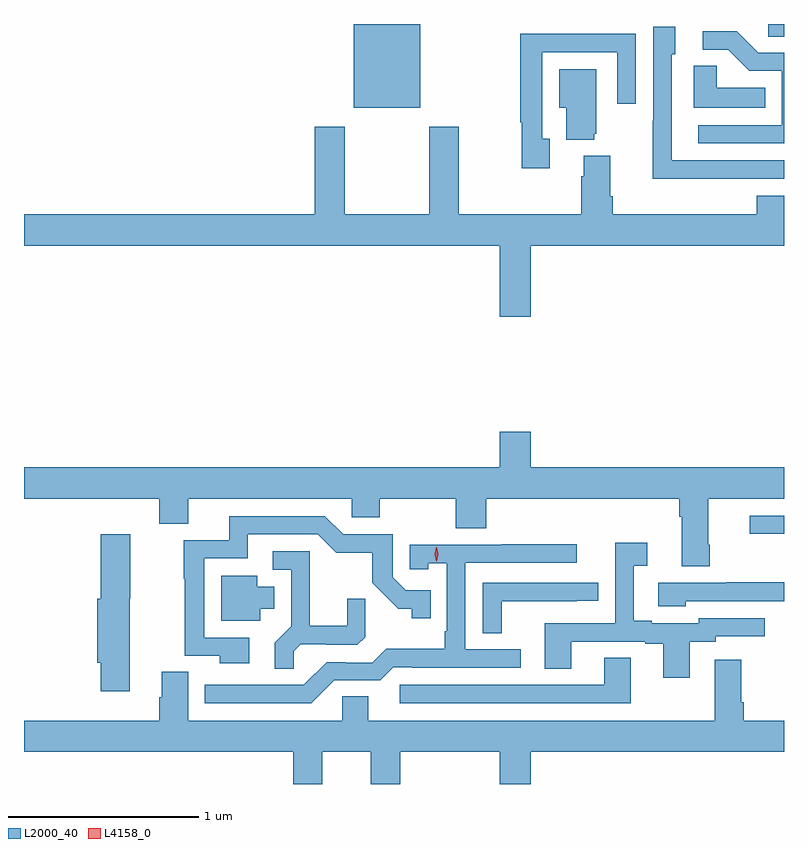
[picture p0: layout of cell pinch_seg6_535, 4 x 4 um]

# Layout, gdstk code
import gdstk
lib = gdstk.Library(unit=1e-6, precision=1e-09)
def R(c, l, rs):  # rectangles x0, y0, x1, y1
    for r in rs: c.add(gdstk.rectangle(r[:2], r[2:], *l))
def P(c, l, *ps):  # polygons
    for p in ps: c.add(gdstk.Polygon(p, *l))
L2000_40 = (2000, 40)
L4158_0 = (4158, 0)

pinch_seg6_535 = lib.new_cell('pinch_seg6_535')
R(pinch_seg6_535, L2000_40, [(825.663,923.175,825.844,923.271), (823.58,925.418,823.93,925.858), (825.762,925.792,825.844,925.858)])
P(pinch_seg6_535, L2000_40, [(825.617,925.044),(825.844,925.044),(825.844,925.14),(825.252,925.14),(825.252,925.698),(825.271,925.698),(825.271,925.843),(825.156,925.843),(825.156,925.349),(825.154,925.349),(825.154,925.043),(825.617,925.043)],
  [(825.844,925.707),(825.708,925.707),(825.595,925.82),(825.417,925.82),(825.417,925.722),(825.551,925.722),(825.662,925.611),(825.831,925.611),(825.831,925.326),(825.393,925.326),(825.393,925.23),(825.844,925.23)],
  [(824.611,925.254),(824.571,925.254),(824.571,925.71),(824.967,925.71),(824.967,925.437),(825.063,925.437),(825.063,925.806),(824.747,925.806),(824.747,925.808),(824.455,925.808),(824.455,925.342),(824.463,925.342),(824.463,925.098),(824.611,925.098)],
  [(825.746,925.522),(825.489,925.522),(825.489,925.637),(825.368,925.637),(825.368,925.418),(825.746,925.418)],
  [(824.846,925.281),(824.857,925.281),(824.857,925.621),(824.66,925.621),(824.66,925.418),(824.699,925.418),(824.699,925.25),(824.846,925.25)],
  [(823.373,925.318),(823.373,924.856),(821.844,924.856),(821.844,924.692),(824.348,924.692),(824.348,924.318),(824.512,924.318),(824.512,924.692),(825.844,924.692),(825.844,924.955),(825.701,924.955),(825.701,924.856),(824.942,924.856),(824.942,924.952),(824.929,924.952),(824.929,925.165),(824.789,925.165),(824.789,925.058),(824.777,925.058),(824.777,924.856),(824.133,924.856),(824.133,925.318),(823.978,925.318),(823.978,924.856),(823.533,924.856),(823.533,925.318)],
  [(825.453,923.116),(825.445,923.116),(825.445,923.36),(825.844,923.36),(825.844,923.524),(824.512,923.524),(824.512,923.713),(824.348,923.713),(824.348,923.524),(821.844,923.524),(821.844,923.36),(822.557,923.36),(822.557,923.227),(822.709,923.227),(822.709,923.36),(823.569,923.36),(823.569,923.262),(823.716,923.262),(823.716,923.36),(824.116,923.36),(824.116,923.203),(824.276,923.203),(824.276,923.36),(825.293,923.36),(825.293,923.264),(825.305,923.264),(825.305,923.004),(825.453,923.004)],
  [(823.03,922.629),(822.792,922.629),(822.792,923.046),(823.021,923.046),(823.021,923.172),(823.389,923.172),(823.488,923.074),(823.677,923.074),(823.677,922.918),(823.814,922.781),(823.884,922.781),(823.884,922.731),(823.985,922.731),(823.985,922.878),(823.854,922.878),(823.785,922.947),(823.785,923.172),(823.524,923.172),(823.428,923.268),(822.923,923.268),(822.923,923.142),(822.684,923.142),(822.684,922.939),(822.691,922.939),(822.691,922.533),(822.874,922.533),(822.874,922.493),(823.03,922.493)],
  [(822.4,922.833),(822.402,922.833),(822.402,923.173),(822.248,923.173),(822.248,922.833),(822.23,922.833),(822.23,922.497),(822.248,922.497),(822.248,922.347),(822.4,922.347)],
  [(825.349,922.608),(825.486,922.608),(825.486,922.635),(825.742,922.635),(825.742,922.731),(825.396,922.731),(825.396,922.704),(825.148,922.704),(825.148,922.717),(825.052,922.717),(825.052,923.008),(825.124,923.008),(825.124,923.128),(824.955,923.128),(824.955,922.704),(824.585,922.704),(824.585,922.465),(824.725,922.465),(824.725,922.608),(825.113,922.608),(825.113,922.596),(825.209,922.596),(825.209,922.416),(825.349,922.416)],
  [(823.476,922.404),(823.719,922.404),(823.788,922.473),(823.888,922.473),(823.888,922.47),(824.458,922.47),(824.458,922.566),(824.166,922.566),(824.166,923.022),(824.752,923.022),(824.752,923.121),(824.359,923.121),(824.359,923.118),(823.875,923.118),(823.875,922.989),(823.971,922.989),(823.971,923.021),(824.07,923.021),(824.07,922.663),(824.058,922.663),(824.058,922.57),(823.75,922.57),(823.677,922.497),(823.538,922.497),(823.538,922.5),(823.437,922.5),(823.317,922.38),(822.794,922.38),(822.794,922.284),(823.356,922.284)],
  [(823.263,922.556),(823.3,922.593),(823.434,922.593),(823.434,922.59),(823.599,922.59),(823.64,922.631),(823.64,922.833),(823.546,922.833),(823.546,922.69),(823.349,922.69),(823.349,923.082),(823.152,923.082),(823.152,922.986),(823.251,922.986),(823.251,922.687),(823.165,922.601),(823.165,922.465),(823.263,922.465)],
  [(823.087,922.781),(823.162,922.781),(823.162,922.897),(823.072,922.897),(823.072,922.954),(822.881,922.954),(822.881,922.718),(823.087,922.718)],
  [(825.327,922.821),(825.844,922.821),(825.844,922.92),(825.541,922.92),(825.541,922.917),(825.183,922.917),(825.183,922.793),(825.327,922.793)],
  [(824.358,922.821),(824.753,922.821),(824.753,922.822),(824.866,922.822),(824.866,922.917),(824.259,922.917),(824.259,922.651),(824.358,922.651)],
  [(825.037,922.523),(824.897,922.523),(824.897,922.38),(823.821,922.38),(823.821,922.284),(825.037,922.284)],
  [(823.67,921.858),(823.823,921.858),(823.823,922.028),(824.348,922.028),(824.348,921.858),(824.512,921.858),(824.512,922.028),(825.844,922.028),(825.844,922.192),(825.632,922.192),(825.632,922.288),(825.619,922.288),(825.619,922.513),(825.479,922.513),(825.479,922.192),(823.657,922.192),(823.657,922.319),(823.518,922.319),(823.518,922.192),(822.709,922.192),(822.709,922.448),(822.569,922.448),(822.569,922.314),(822.557,922.314),(822.557,922.192),(821.844,922.192),(821.844,922.028),(823.262,922.028),(823.262,921.858),(823.414,921.858),(823.414,922.028),(823.67,922.028)])
P(pinch_seg6_535, L4158_0, [(824.015,923.031),(824.015,923.031),(824.005,923.067),(824.015,923.103),(824.015,923.103),(824.016,923.103),(824.025,923.067),(824.016,923.031)])

lib.write_gds('pinch_seg6_535.gds')
